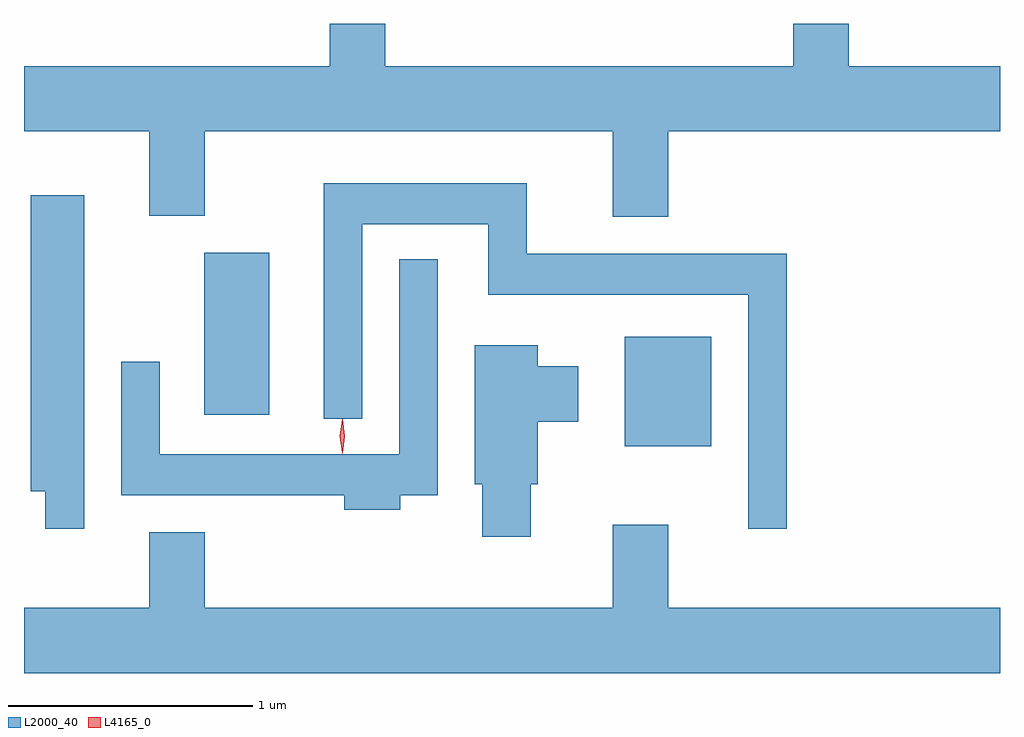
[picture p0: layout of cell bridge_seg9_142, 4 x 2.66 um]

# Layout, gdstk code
import gdstk
lib = gdstk.Library(unit=1e-6, precision=1e-09)
def R(c, l, rs):  # rectangles x0, y0, x1, y1
    for r in rs: c.add(gdstk.rectangle(r[:2], r[2:], *l))
def P(c, l, *ps):  # polygons
    for p in ps: c.add(gdstk.Polygon(p, *l))
L2000_40 = (2000, 40)
L4165_0 = (4165, 0)

bridge_seg9_142 = lib.new_cell('bridge_seg9_142')
R(bridge_seg9_142, L2000_40, [(1439.101,2077.106,1439.454,2077.554), (1437.376,2077.236,1437.644,2077.899)])
P(bridge_seg9_142, L2000_40, [(1439.279,2078.396),(1440.638,2078.396),(1440.638,2078.664),(1440.019,2078.664),(1440.019,2078.837),(1439.791,2078.837),(1439.791,2078.664),(1438.119,2078.664),(1438.119,2078.837),(1437.891,2078.837),(1437.891,2078.664),(1436.638,2078.664),(1436.638,2078.396),(1437.151,2078.396),(1437.151,2078.051),(1437.379,2078.051),(1437.379,2078.396),(1439.051,2078.396),(1439.051,2078.046),(1439.279,2078.046)],
  [(1439.764,2077.894),(1438.699,2077.894),(1438.699,2078.184),(1437.866,2078.184),(1437.866,2077.218),(1438.024,2077.218),(1438.024,2078.016),(1438.541,2078.016),(1438.541,2077.726),(1439.606,2077.726),(1439.606,2076.768),(1439.764,2076.768)],
  [(1436.884,2078.134),(1436.666,2078.134),(1436.666,2076.921),(1436.726,2076.921),(1436.726,2076.768),(1436.884,2076.768)],
  [(1438.179,2076.906),(1438.334,2076.906),(1438.334,2077.873),(1438.176,2077.873),(1438.176,2077.074),(1437.194,2077.074),(1437.194,2077.452),(1437.036,2077.452),(1437.036,2076.906),(1437.951,2076.906),(1437.951,2076.846),(1438.179,2076.846)],
  [(1438.714,2076.951),(1438.744,2076.951),(1438.744,2077.206),(1438.909,2077.206),(1438.909,2077.434),(1438.744,2077.434),(1438.744,2077.519),(1438.486,2077.519),(1438.486,2076.951),(1438.516,2076.951),(1438.516,2076.736),(1438.714,2076.736)],
  [(1440.638,2076.444),(1439.279,2076.444),(1439.279,2076.784),(1439.051,2076.784),(1439.051,2076.444),(1437.379,2076.444),(1437.379,2076.754),(1437.151,2076.754),(1437.151,2076.444),(1436.638,2076.444),(1436.638,2076.176),(1440.638,2076.176)])
P(bridge_seg9_142, L4165_0, [(1437.942,2077.077),(1437.933,2077.147),(1437.942,2077.216),(1437.943,2077.216),(1437.944,2077.216),(1437.953,2077.147),(1437.944,2077.077),(1437.943,2077.077)])

lib.write_gds('bridge_seg9_142.gds')
